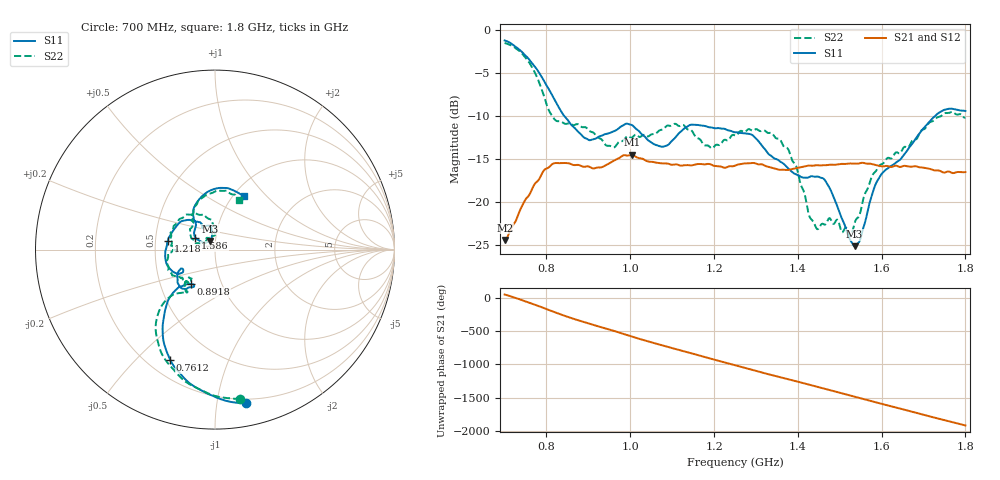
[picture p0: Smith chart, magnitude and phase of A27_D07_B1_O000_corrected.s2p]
! Created with skrf 1.9.0 (http://scikit-rf.org).
# Hz S RI R 50.0
!freq ReS11 ImS11 ReS21 ImS21 ReS12 ImS12 ReS22 ImS22
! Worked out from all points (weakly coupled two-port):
!   1601 points, 700 MHz to 1.8 GHz, reference 50 ohm
!   highest |S21| = -14.52 dB at 1.004 GHz (marker M1); lowest = -24.5 dB at 700.7 MHz (marker M2)
!   lowest |S11| = -25.2 dB at 1.535 GHz (marker M3), VSWR 1.12, Z = 47.2 + j4.57 ohm
!   |S11| at or under -10 dB: 842.4 MHz to 1.727 GHz (885 MHz wide, 68.9 % of centre)
!   |S22| runs from -24.0 to -1.5 dB; largest |S21 - S12| = 0.0035
!   S11 on the Smith chart (normalised r, x): 700 MHz: 0.17, -1.21; 761.2 MHz: 0.29, -0.63; 891.8 MHz: 0.71, -0.29; 1.218 GHz: 0.58, +0.06; 1.586 GHz: 0.80, +0.11; 1.8 GHz: 1.11, +0.75
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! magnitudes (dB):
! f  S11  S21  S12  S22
! 700 MHz  -1.2  -24.5  -24.3  -1.5
! 700.7 MHz  -1.2  -24.5  -24.2  -1.5
! 761.2 MHz  -3.6  -19.0  -18.9  -3.9
! 817.6 MHz  -7.9  -15.5  -15.6  -10.3
! 883.6 MHz  -12.2  -15.8  -15.7  -11.3
! 891.8 MHz  -12.6  -15.9  -15.9  -11.3
! 957.8 MHz  -11.9  -15.3  -15.3  -13.6
! 1.004 GHz  -11.1  -14.5  -14.7  -12.5
! 1.067 GHz  -13.5  -15.5  -15.4  -11.8
! 1.144 GHz  -11.0  -15.8  -15.8  -11.6
! 1.218 GHz  -11.5  -15.9  -15.9  -13.2
! 1.25 GHz  -11.9  -15.8  -15.7  -12.3
! 1.357 GHz  -15.3  -16.3  -16.2  -12.7
! 1.396 GHz  -16.8  -16.1  -16.1  -15.8
! 1.434 GHz  -17.0  -15.8  -15.8  -22.1
! 1.469 GHz  -17.9  -15.7  -15.7  -22.4
! 1.525 GHz  -24.5  -15.5  -15.5  -24.0
! 1.535 GHz  -25.2  -15.5  -15.6  -22.5
! 1.586 GHz  -17.9  -15.7  -15.7  -16.4
! 1.617 GHz  -16.0  -15.9  -15.8  -14.9
! 1.735 GHz  -9.7  -16.4  -16.4  -10.1
! 1.8 GHz  -9.4  -16.5  -16.5  -10.2
